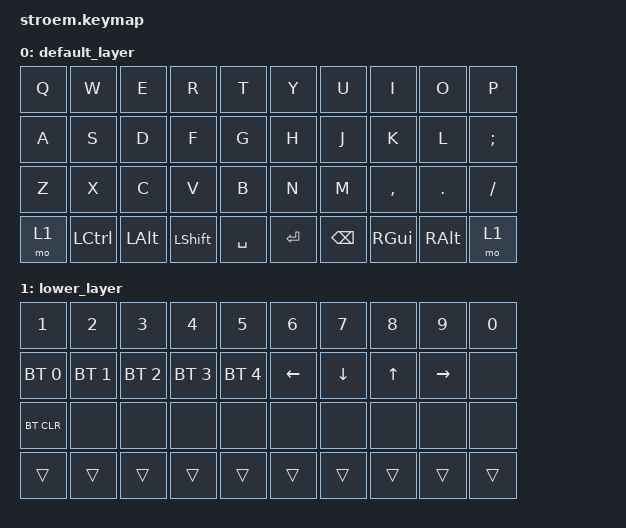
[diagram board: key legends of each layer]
#include <behaviors.dtsi>
#include <dt-bindings/zmk/keys.h>
#include <dt-bindings/zmk/bt.h>

/ {
    keymap {
        compatible = "zmk,keymap";

        default_layer {
            bindings = <
    &kp Q      &kp W      &kp E      &kp R      &kp T         &kp Y      &kp U      &kp I      &kp O      &kp P
    &kp A      &kp S      &kp D      &kp F      &kp G         &kp H      &kp J      &kp K      &kp L      &kp SEMI
    &kp Z      &kp X      &kp C      &kp V      &kp B         &kp N      &kp M      &kp COMMA  &kp DOT    &kp SLASH
    &mo 1      &kp LCTRL  &kp LALT   &kp LSHIFT &kp SPACE     &kp RET    &kp BSPC   &kp RGUI   &kp RALT   &mo 1
            >;
        };

        lower_layer {
            bindings = <
    &kp N1     &kp N2     &kp N3     &kp N4     &kp N5        &kp N6     &kp N7     &kp N8     &kp N9     &kp N0
    &bt BT_SEL 0 &bt BT_SEL 1 &bt BT_SEL 2 &bt BT_SEL 3 &bt BT_SEL 4 &kp LEFT   &kp DOWN   &kp UP     &kp RIGHT  &none
    &bt BT_CLR &none      &none      &none      &none         &none      &none      &none      &none      &none
    &trans     &trans     &trans     &trans     &trans        &trans     &trans     &trans     &trans     &trans
            >;
        };
    };
};
